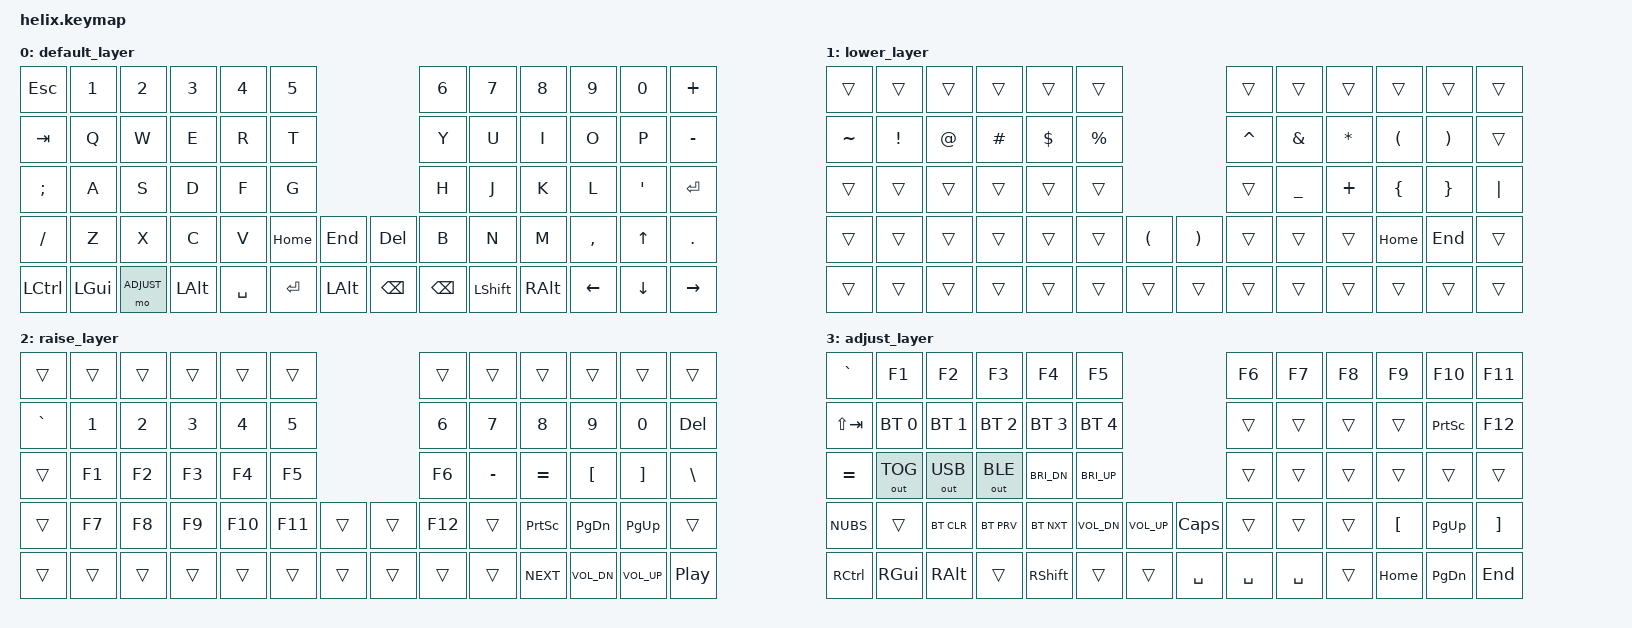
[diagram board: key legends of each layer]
/*
 * Copyright (c) 2020 The ZMK Contributors
 *
 * SPDX-License-Identifier: MIT
 */

 #include <behaviors.dtsi>
 #include <dt-bindings/zmk/keys.h>
 #include <dt-bindings/zmk/bt.h>
 #include <dt-bindings/zmk/rgb.h>
 #include <dt-bindings/zmk/ext_power.h>
 #include <dt-bindings/zmk/outputs.h>

 #define DEFAULT 0
 #define LOWER  1
 #define RAISE  2
 #define ADJUST 3

/* NOTE: At the time of the creation of this keymap, there are no specified codes for 'eisuu' and 'kana' input in ZMK.
However, 'LANG1' and 'LANG2' are fully-functioning candidates for 'kana' and 'eisuu' input respectively.
As such, those are in use within the default layer at this time.*/

/ {
       keymap {
              compatible = "zmk,keymap";
 
              default_layer {
 // ---------------------------------------------------------------------------------------------------------------------------------
 // |  ESC   |   1    |   2    |   3    |   4    |   5    |                                      |   6    |   7    |   8    |   9    |   0    |   +    |
 // |  TAB   |   Q    |   W    |   E    |   R    |   T    |                                      |   Y    |   U    |   I    |   O    |   P    |   -    |
 // |   ;    |   A    |   S    |   D    |   F    |   G    |                                      |   H    |   J    |   K    |   L    |   '    |  ENTER |
 // |   /    |   Z    |   X    |   C    |   V    |   HOME |  END   |                    |   DEL  |   B    |   N    |   M    |   ,    |   UP   |   .    |
 // |  CTRL  |  WIN   |   FN   |        | SPACE  |        |  ALT   |                    |  BPSC  |        | LSHIFT |        |  LEFT  |  DOWN  |  RIGHT |
                     bindings = <
       &kp ESC    &kp N1   &kp N2   &kp N3   &kp N4    &kp N5                               &kp N6    &kp N7     &kp N8    &kp N9     &kp N0    &kp PLUS
       &kp TAB    &kp Q    &kp W    &kp E    &kp R     &kp T                                &kp Y     &kp U      &kp I     &kp O      &kp P     &kp MINUS
       &kp SEMI   &kp A    &kp S    &kp D    &kp F     &kp G                                &kp H     &kp J      &kp K     &kp L      &kp APOS  &kp RET
       &kp SLASH  &kp Z    &kp X    &kp C    &kp V     &kp HOME &kp END         &kp DEL     &kp B     &kp N      &kp M     &kp COMMA  &kp UP    &kp PERIOD
       &kp LCTRL  &kp LGUI &mo ADJUST &kp LALT &kp SPACE &kp RET  &kp LALT       &kp BSPC    &kp BSPC  &kp LSHIFT &kp RALT  &kp LEFT   &kp DOWN  &kp RIGHT
      >;
              };
              lower_layer {
 // ---------------------------------------------------------------------------------------------------------------------------------
 // |      |      |      |      |      |      |                                  |      |      |      |      |      |      |
 // |  ~   |  !   |  @   |  #   |  $   |  %   |                                  |  ^   |  &   |  *   |  (   |  )   |      |
 // |      |      |      |      |      |      |                                  |      |c   |  +   |  {   |  }   | PIPE |
 // |      |      |      |      |      |      |  (   |                    |  )   |      |      |      | HOME | END  |      |
 // |      |      |      |      |      |      |      |                    |      |      |      |      |      |      |      |
                     bindings = <
       &trans    &trans   &trans &trans   &trans   &trans                             &trans    &trans    &trans    &trans   &trans   &trans
       &kp TILDE &kp EXCL &kp AT &kp HASH &kp DLLR &kp PRCNT                          &kp CARET &kp AMPS  &kp ASTRK &kp LPAR &kp RPAR &trans
       &trans    &trans   &trans &trans   &trans   &trans                             &trans    &kp UNDER &kp PLUS  &kp LBRC &kp RBRC &kp PIPE
       &trans    &trans   &trans &trans   &trans   &trans    &kp LPAR        &kp RPAR &trans    &trans    &trans    &kp HOME &kp END  &trans
       &trans    &trans   &trans &trans   &trans   &trans    &trans          &trans   &trans    &trans    &trans    &trans   &trans   &trans
                     >;
              };
              raise_layer {
 // ---------------------------------------------------------------------------------------------------------------------------------
 // |       |       |       |       |       |       |                                    |       |       |       |       |       |       |
 // |   `   |   1   |   2   |   3   |   4   |   5   |                                    |   6   |   7   |   8   |   9   |   0   |  DEL  |
 // |       |  F1   |  F2   |  F3   |  F4   |  F5   |                                    |  F6   |   -   |   =   |   [   |   ]   |   \   |
 // |       |  F7   |  F8   |  F9   |  F10  |  F11  |       |                    |       |  F12  |       | PSCRN | PG_DN | PG_UP |       |
 // |       |       |       |       |       |       |       |                    |       |       |       | NEXT  | VOL-  | VOL+  | PLAY  |
                     bindings = <
       &trans    &trans &trans &trans &trans  &trans                       &trans  &trans    &trans     &trans       &trans       &trans
       &kp GRAVE &kp N1 &kp N2 &kp N3 &kp N4  &kp N5                       &kp N6  &kp N7    &kp N8     &kp N9       &kp N0       &kp DEL
       &trans    &kp F1 &kp F2 &kp F3 &kp F4  &kp F5                       &kp F6  &kp MINUS &kp EQUAL  &kp LBKT     &kp RBKT     &kp BSLH
       &trans    &kp F7 &kp F8 &kp F9 &kp F10 &kp F11 &trans        &trans &kp F12 &trans    &kp PSCRN  &kp PG_DN    &kp PG_UP    &trans
       &trans    &trans &trans &trans &trans  &trans  &trans        &trans &trans  &trans    &kp C_NEXT &kp C_VOL_DN &kp C_VOL_UP &kp C_PP
                     >;
              };
              adjust_layer {
 // ---------------------------------------------------------------------------------------------------------------------------------
 // |   TILDE  |    F1    |    F2    |    F3    |    F4    |    F5    |                                          |   F6     |   F7     |   F8     |   F9     |    F10   |   F11    |
 // |  shftab  | BT SEL0  | BT SEL1  | BT SEL2  | BGT SEL3 | BT SEL4  |                                          |          |          |          |          |   PSCRN  |   F12    |
 // |   EQUAL  | OUT TOG  | OUT USB  | OUT BLE  |  bri dn  |   bri up |                                          |          |          |          |          |          |          |
 // |   BSLH   |          |  BT CLR  |   BT PRV |  BT NXT  |   voldn  |  volup   |                    |  CAPS    |          |          |          |    {     |          |    }     |
 // |   ctrl   |  win     |  RALT    |          |  rshift  |          |          |                    |  SPACE   |          |   space  |          |          |          |          |
                     bindings = <
       &kp GRAVE   &kp F1       &kp F2       &kp F3       &kp F4       &kp F5                                     &kp F6        &kp F7      &kp F8        &kp F9         &kp F10        &kp F11
       &kp LS(TAB) &bt BT_SEL 0 &bt BT_SEL 1 &bt BT_SEL 2 &bt BT_SEL 3 &bt BT_SEL 4                               &trans        &trans      &trans        &trans         &kp PSCRN      &kp F12
       &kp EQUAL   &out OUT_TOG &out OUT_USB &out OUT_BLE &kp C_BRI_DN &kp C_BRI_UP                               &trans        &trans      &trans        &trans         &trans         &trans        
       &kp NUBS    &trans       &bt BT_CLR   &bt BT_PRV   &bt BT_NXT   &kp C_VOL_DN &kp C_VOL_UP        &kp CAPS  &trans        &trans      &trans        &kp LBKT       &kp PG_UP      &kp RBKT
       &kp RCTRL   &kp RGUI     &kp RALT     &trans       &kp RSHIFT   &trans       &trans              &kp SPACE &kp SPACE     &kp SPACE   &trans        &kp HOME       &kp PG_DN      &kp END
                     >;
              };
       };
};
